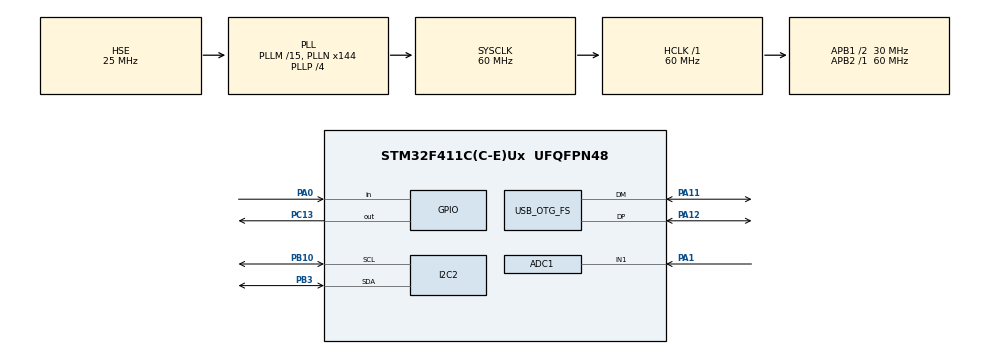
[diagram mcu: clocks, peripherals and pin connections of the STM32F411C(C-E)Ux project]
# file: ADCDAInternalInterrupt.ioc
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ADC1.Channel-0\#ChannelRegularConversion=ADC_CHANNEL_1
ADC1.ClockPrescaler=ADC_CLOCK_SYNC_PCLK_DIV4
ADC1.ContinuousConvMode=DISABLE
ADC1.NbrOfConversionFlag=1
ADC1.Rank-0\#ChannelRegularConversion=1
ADC1.SamplingTime-0\#ChannelRegularConversion=ADC_SAMPLETIME_3CYCLES
ADC1.master=1
Mcu.Family=STM32F4
Mcu.Name=STM32F411C(C-E)Ux
Mcu.Package=UFQFPN48
NVIC.ADC_IRQn=true\:0\:0\:false\:false\:true\:true\:true\:true
NVIC.OTG_FS_IRQn=true\:0\:0\:false\:false\:true\:false\:true\:true
NVIC.PriorityGroup=NVIC_PRIORITYGROUP_4
PA0-WKUP.GPIO_PuPd=GPIO_PULLUP
PA0-WKUP.Signal=GPIO_Input
PA1.Signal=ADCx_IN1
PA11.Mode=Device_Only
PA11.Signal=USB_OTG_FS_DM
PA12.Mode=Device_Only
PA12.Signal=USB_OTG_FS_DP
PA13.Mode=Serial_Wire
PA13.Signal=SYS_JTMS-SWDIO
PA14.Mode=Serial_Wire
PA14.Signal=SYS_JTCK-SWCLK
PB10.GPIO_Pu=GPIO_PULLUP
PB10.Mode=I2C
PB10.Signal=I2C2_SCL
PB3.GPIO_Pu=GPIO_PULLUP
PB3.Mode=I2C
PB3.Signal=I2C2_SDA
PC13-ANTI_TAMP.GPIO_PuPd=GPIO_PULLUP
PC13-ANTI_TAMP.Signal=GPIO_Output
PH0\ -\ OSC_IN.Mode=HSE-External-Oscillator
PH0\ -\ OSC_IN.Signal=RCC_OSC_IN
PH1\ -\ OSC_OUT.Mode=HSE-External-Oscillator
PH1\ -\ OSC_OUT.Signal=RCC_OSC_OUT
ProjectManager.HeapSize=0x200
ProjectManager.StackSize=0x400
ProjectManager.TargetToolchain=STM32CubeIDE
RCC.48MHZClocksFreq_Value=48000000
RCC.AHBFreq_Value=60000000
RCC.APB1CLKDivider=RCC_HCLK_DIV2
RCC.APB1Freq_Value=30000000
RCC.APB1TimFreq_Value=60000000
RCC.APB2Freq_Value=60000000
RCC.APB2TimFreq_Value=60000000
RCC.CortexFreq_Value=60000000
RCC.HCLKFreq_Value=60000000
RCC.HSE_VALUE=25000000
RCC.HSI_VALUE=16000000
RCC.LSE_VALUE=32768
RCC.PLLM=15
RCC.PLLN=144
RCC.PLLP=RCC_PLLP_DIV4
RCC.PLLQ=5
RCC.SYSCLKFreq_VALUE=60000000
RCC.SYSCLKSource=RCC_SYSCLKSOURCE_PLLCLK
RCC.VCOOutputFreq_Value=240000000
SH.ADCx_IN1.0=ADC1_IN1,IN1
USB_DEVICE.CLASS_NAME_FS=CDC
USB_DEVICE.VirtualMode=Cdc
USB_DEVICE.VirtualModeFS=Cdc_FS
USB_OTG_FS.VirtualMode=Device_Only
VP_USB_DEVICE_VS_USB_DEVICE_CDC_FS.Mode=CDC_FS
board=custom

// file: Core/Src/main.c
/* USER CODE BEGIN Header */
/**
 ******************************************************************************
 * @file           : main.c
 * @brief          : Main program body
 ******************************************************************************
 * @attention
 *
 * Copyright (c) 2024 STMicroelectronics.
 * All rights reserved.
 *
 * This software is licensed under terms that can be found in the LICENSE file
 * in the root directory of this software component.
 * If no LICENSE file comes with this software, it is provided AS-IS.
 *
 ******************************************************************************
 */
/* USER CODE END Header */
#include "main.h"
#include "usb_device.h"

/* USER CODE BEGIN PD */
#define ADCRES 12
#define ZEROSCALE 0
#define MIDSCALE 1862
#define FULLSCALE 4095
/* USER CODE END PD */

ADC_HandleTypeDef hadc1;

I2C_HandleTypeDef hi2c2;

/* USER CODE BEGIN PV */
int countsDAC;
int adcValue;
double volts;
char buffer[32];
uint8_t buf[2];
/* USER CODE END PV */

void SystemClock_Config(void);
static void MX_GPIO_Init(void);
static void MX_ADC1_Init(void);
static void MX_I2C2_Init(void);
/* USER CODE BEGIN PFP */
extern uint8_t CDC_Transmit_FS(uint8_t *Buf, uint16_t Len);
double count2volt(int res, int count);
/* USER CODE END PFP */

int main(void)
{

  /* MCU Configuration--------------------------------------------------------*/

  /* Reset of all peripherals, Initializes the Flash interface and the Systick. */
  HAL_Init();

  /* USER CODE BEGIN Init */
	HAL_StatusTypeDef RET;
  /* USER CODE END Init */

  /* Configure the system clock */
  SystemClock_Config();

  /* Initialize all configured peripherals */
  MX_GPIO_Init();
  MX_ADC1_Init();
  MX_I2C2_Init();
  MX_USB_DEVICE_Init();
  /* USER CODE BEGIN 2 */
	HAL_ADC_Start_IT(&hadc1);
  /* USER CODE END 2 */

  /* Infinite loop */
  /* USER CODE BEGIN WHILE */

	while (1) {

		countsDAC = MIDSCALE;

		buf[0] = countsDAC >> 8;
		buf[1] = countsDAC;

		RET = HAL_I2C_Master_Transmit(&hi2c2, (0x60 << 1), buf, 2, 100);
		if(RET == HAL_OK){
			HAL_GPIO_TogglePin(GPIOC, GPIO_PIN_13);
		}

		volts = count2volt(ADCRES, adcValue);

		sprintf(buffer, "Counts: %d --- Volts: %.2f\n\r", adcValue, volts);
		CDC_Transmit_FS(buffer, sizeof(buffer));

		HAL_ADC_Start_IT(&hadc1);

		HAL_Delay(1000);

		countsDAC = FULLSCALE;

		buf[0] = countsDAC >> 8;
		buf[1] = countsDAC;

		RET = HAL_I2C_Master_Transmit(&hi2c2, (0x60 << 1), buf, 2, 100);
		if(RET == HAL_OK){
			HAL_GPIO_TogglePin(GPIOC, GPIO_PIN_13);
		}

		volts = count2volt(ADCRES, adcValue);

		sprintf(buffer, "Counts: %d --- Volts: %.2f\n\r", adcValue, volts);
		CDC_Transmit_FS(buffer, sizeof(buffer));

		HAL_ADC_Start_IT(&hadc1);
		HAL_Delay(1000);

	}

    /* USER CODE END WHILE */

}
}

void SystemClock_Config(void)
{
  RCC_OscInitTypeDef RCC_OscInitStruct = {0};
  RCC_ClkInitTypeDef RCC_ClkInitStruct = {0};

  /** Configure the main internal regulator output voltage
  */
  __HAL_RCC_PWR_CLK_ENABLE();
  __HAL_PWR_VOLTAGESCALING_CONFIG(PWR_REGULATOR_VOLTAGE_SCALE1);

  /** Initializes the RCC Oscillators according to the specified parameters
  * in the RCC_OscInitTypeDef structure.
  */
  RCC_OscInitStruct.OscillatorType = RCC_OSCILLATORTYPE_HSE;
  RCC_OscInitStruct.HSEState = RCC_HSE_ON;
  RCC_OscInitStruct.PLL.PLLState = RCC_PLL_ON;
  RCC_OscInitStruct.PLL.PLLSource = RCC_PLLSOURCE_HSE;
  RCC_OscInitStruct.PLL.PLLM = 15;
  RCC_OscInitStruct.PLL.PLLN = 144;
  RCC_OscInitStruct.PLL.PLLP = RCC_PLLP_DIV4;
  RCC_OscInitStruct.PLL.PLLQ = 5;
  if (HAL_RCC_OscConfig(&RCC_OscInitStruct) != HAL_OK)
  {
    Error_Handler();
  }

  /** Initializes the CPU, AHB and APB buses clocks
  */
  RCC_ClkInitStruct.ClockType = RCC_CLOCKTYPE_HCLK|RCC_CLOCKTYPE_SYSCLK
                              |RCC_CLOCKTYPE_PCLK1|RCC_CLOCKTYPE_PCLK2;
  RCC_ClkInitStruct.SYSCLKSource = RCC_SYSCLKSOURCE_PLLCLK;
  RCC_ClkInitStruct.AHBCLKDivider = RCC_SYSCLK_DIV1;
  RCC_ClkInitStruct.APB1CLKDivider = RCC_HCLK_DIV2;
  RCC_ClkInitStruct.APB2CLKDivider = RCC_HCLK_DIV1;

  if (HAL_RCC_ClockConfig(&RCC_ClkInitStruct, FLASH_LATENCY_1) != HAL_OK)
  {
    Error_Handler();
  }
}

static void MX_ADC1_Init(void)
{

  ADC_ChannelConfTypeDef sConfig = {0};

  /** Configure the global features of the ADC (Clock, Resolution, Data Alignment and number of conversion)
  */
  hadc1.Instance = ADC1;
  hadc1.Init.ClockPrescaler = ADC_CLOCK_SYNC_PCLK_DIV4;
  hadc1.Init.Resolution = ADC_RESOLUTION_12B;
  hadc1.Init.ScanConvMode = DISABLE;
  hadc1.Init.ContinuousConvMode = DISABLE;
  hadc1.Init.DiscontinuousConvMode = DISABLE;
  hadc1.Init.ExternalTrigConvEdge = ADC_EXTERNALTRIGCONVEDGE_NONE;
  hadc1.Init.ExternalTrigConv = ADC_SOFTWARE_START;
  hadc1.Init.DataAlign = ADC_DATAALIGN_RIGHT;
  hadc1.Init.NbrOfConversion = 1;
  hadc1.Init.DMAContinuousRequests = DISABLE;
  hadc1.Init.EOCSelection = ADC_EOC_SINGLE_CONV;
  if (HAL_ADC_Init(&hadc1) != HAL_OK)
  {
    Error_Handler();
  }

  /** Configure for the selected ADC regular channel its corresponding rank in the sequencer and its sample time.
  */
  sConfig.Channel = ADC_CHANNEL_1;
  sConfig.Rank = 1;
  sConfig.SamplingTime = ADC_SAMPLETIME_3CYCLES;
  if (HAL_ADC_ConfigChannel(&hadc1, &sConfig) != HAL_OK)
  {
    Error_Handler();
  }

}

static void MX_I2C2_Init(void)
{

  hi2c2.Instance = I2C2;
  hi2c2.Init.ClockSpeed = 100000;
  hi2c2.Init.DutyCycle = I2C_DUTYCYCLE_2;
  hi2c2.Init.OwnAddress1 = 0;
  hi2c2.Init.AddressingMode = I2C_ADDRESSINGMODE_7BIT;
  hi2c2.Init.DualAddressMode = I2C_DUALADDRESS_DISABLE;
  hi2c2.Init.OwnAddress2 = 0;
  hi2c2.Init.GeneralCallMode = I2C_GENERALCALL_DISABLE;
  hi2c2.Init.NoStretchMode = I2C_NOSTRETCH_DISABLE;
  if (HAL_I2C_Init(&hi2c2) != HAL_OK)
  {
    Error_Handler();
  }

}

static void MX_GPIO_Init(void)
{
  GPIO_InitTypeDef GPIO_InitStruct = {0};

  /* GPIO Ports Clock Enable */
  __HAL_RCC_GPIOC_CLK_ENABLE();
  __HAL_RCC_GPIOH_CLK_ENABLE();
  __HAL_RCC_GPIOA_CLK_ENABLE();
  __HAL_RCC_GPIOB_CLK_ENABLE();

  /*Configure GPIO pin Output Level */
  HAL_GPIO_WritePin(GPIOC, GPIO_PIN_13, GPIO_PIN_RESET);

  /*Configure GPIO pin : PC13 */
  GPIO_InitStruct.Pin = GPIO_PIN_13;
  GPIO_InitStruct.Mode = GPIO_MODE_OUTPUT_PP;
  GPIO_InitStruct.Pull = GPIO_PULLUP;
  GPIO_InitStruct.Speed = GPIO_SPEED_FREQ_LOW;
  HAL_GPIO_Init(GPIOC, &GPIO_InitStruct);

  /*Configure GPIO pin : PA0 */
  GPIO_InitStruct.Pin = GPIO_PIN_0;
  GPIO_InitStruct.Mode = GPIO_MODE_INPUT;
  GPIO_InitStruct.Pull = GPIO_PULLUP;
  HAL_GPIO_Init(GPIOA, &GPIO_InitStruct);

}

/* USER CODE BEGIN 4 */
void HAL_ADC_ConvCpltCallback(ADC_HandleTypeDef *hadc1) {
	adcValue = HAL_ADC_GetValue(hadc1);
	HAL_ADC_Stop_IT(hadc1);
}
/* USER CODE END 4 */

void Error_Handler(void)
{
	__disable_irq();
	while (1) {
	}
}
